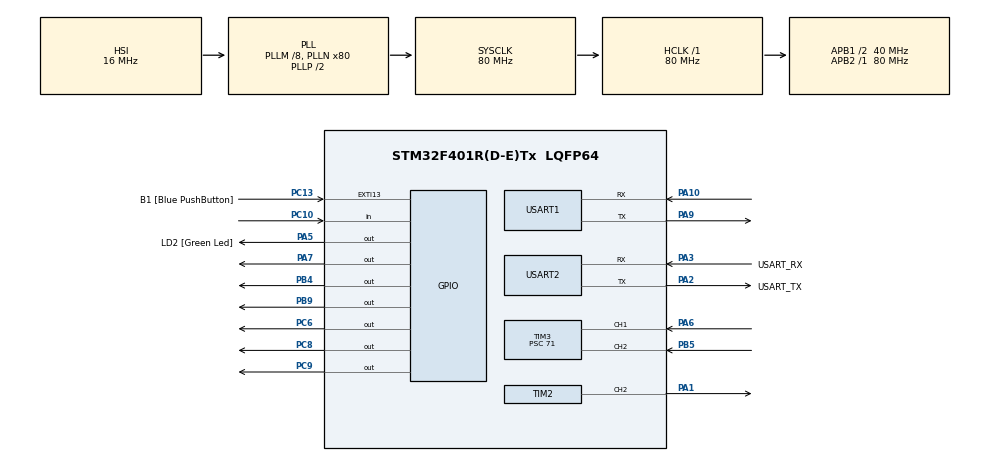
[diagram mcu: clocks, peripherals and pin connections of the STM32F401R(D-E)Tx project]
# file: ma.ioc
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Mcu.Family=STM32F4
Mcu.Name=STM32F401R(D-E)Tx
Mcu.Package=LQFP64
NVIC.PriorityGroup=NVIC_PRIORITYGROUP_0
NVIC.TIM3_IRQn=true\:0\:0\:false\:false\:true\:true\:true\:true
PA1.Signal=S_TIM2_CH2
PA10.Mode=Asynchronous
PA10.Signal=USART1_RX
PA13.GPIO_Label=TMS
PA13.Mode=Serial_Wire
PA13.Signal=SYS_JTMS-SWDIO
PA14.GPIO_Label=TCK
PA14.Mode=Serial_Wire
PA14.Signal=SYS_JTCK-SWCLK
PA2.GPIO_Label=USART_TX
PA2.GPIO_Mode=GPIO_MODE_AF_PP
PA2.GPIO_PuPd=GPIO_NOPULL
PA2.GPIO_Speed=GPIO_SPEED_FREQ_LOW
PA2.Mode=Asynchronous
PA2.Signal=USART2_TX
PA3.GPIO_Label=USART_RX
PA3.GPIO_Mode=GPIO_MODE_AF_PP
PA3.GPIO_PuPd=GPIO_NOPULL
PA3.GPIO_Speed=GPIO_SPEED_FREQ_LOW
PA3.Mode=Asynchronous
PA3.Signal=USART2_RX
PA5.GPIO_Label=LD2 [Green Led]
PA5.GPIO_Mode=GPIO_MODE_OUTPUT_PP
PA5.GPIO_PuPd=GPIO_NOPULL
PA5.GPIO_Speed=GPIO_SPEED_FREQ_LOW
PA5.Signal=GPIO_Output
PA6.Signal=S_TIM3_CH1
PA7.Signal=GPIO_Output
PA9.Mode=Asynchronous
PA9.Signal=USART1_TX
PB3.GPIO_Label=SWO
PB3.Signal=SYS_JTDO-SWO
PB4.Signal=GPIO_Output
PB5.Signal=S_TIM3_CH2
PB9.Signal=GPIO_Output
PC10.Signal=GPIO_Input
PC13-ANTI_TAMP.GPIO_Label=B1 [Blue PushButton]
PC13-ANTI_TAMP.GPIO_ModeDefaultEXTI=GPIO_MODE_IT_FALLING
PC13-ANTI_TAMP.GPIO_PuPd=GPIO_NOPULL
PC13-ANTI_TAMP.Signal=GPXTI13
PC14-OSC32_IN.Mode=LSE-External-Oscillator
PC14-OSC32_IN.Signal=RCC_OSC32_IN
PC15-OSC32_OUT.Mode=LSE-External-Oscillator
PC15-OSC32_OUT.Signal=RCC_OSC32_OUT
PC6.Signal=GPIO_Output
PC8.Signal=GPIO_Output
PC9.Signal=GPIO_Output
PH0\ -\ OSC_IN.Mode=HSE-External-Oscillator
PH0\ -\ OSC_IN.Signal=RCC_OSC_IN
PH1\ -\ OSC_OUT.Mode=HSE-External-Oscillator
PH1\ -\ OSC_OUT.Signal=RCC_OSC_OUT
ProjectManager.HeapSize=0x200
ProjectManager.StackSize=0x400
ProjectManager.TargetToolchain=STM32CubeIDE
RCC.48MHZClocksFreq_Value=22857142.85714286
RCC.AHBFreq_Value=80000000
RCC.APB1CLKDivider=RCC_HCLK_DIV2
RCC.APB1Freq_Value=40000000
RCC.APB1TimFreq_Value=80000000
RCC.APB2Freq_Value=80000000
RCC.APB2TimFreq_Value=80000000
RCC.CortexFreq_Value=80000000
RCC.HCLKFreq_Value=80000000
RCC.HSE_VALUE=8000000
RCC.HSI_VALUE=16000000
RCC.PLLM=8
RCC.PLLN=80
RCC.PLLQ=7
RCC.SYSCLKFreq_VALUE=80000000
RCC.SYSCLKSource=RCC_SYSCLKSOURCE_PLLCLK
RCC.VCOOutputFreq_Value=160000000
SH.S_TIM2_CH2.0=TIM2_CH2,PWM Generation2 CH2
SH.S_TIM3_CH1.0=TIM3_CH1,Input_Capture1_from_TI1
SH.S_TIM3_CH2.0=TIM3_CH2,Input_Capture2_from_TI2
TIM1.Prescaler=79
TIM2.Channel-PWM\ Generation2\ CH2=TIM_CHANNEL_2
TIM2.Period=9999
TIM2.Prescaler=159
TIM3.Channel-Input_Capture1_from_TI1=TIM_CHANNEL_1
TIM3.Channel-Input_Capture2_from_TI2=TIM_CHANNEL_2
TIM3.Period=0xffff - 1
TIM3.Prescaler=71
USART1.VirtualMode=VM_ASYNC
USART2.VirtualMode=VM_ASYNC
VP_TIM1_VS_ClockSourceINT.Mode=Internal
VP_TIM2_VS_ClockSourceINT.Mode=Internal
VP_TIM3_VS_ClockSourceINT.Mode=Internal
board=NUCLEO-F401RE

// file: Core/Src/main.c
/* USER CODE BEGIN Header */
/**
  ******************************************************************************
  * @file           : main.c
  * @brief          : Main program body
  ******************************************************************************
  * @attention
  *
  * Copyright (c) 2023 STMicroelectronics.
  * All rights reserved.
  *
  * This software is licensed under terms that can be found in the LICENSE file
  * in the root directory of this software component.
  * If no LICENSE file comes with this software, it is provided AS-IS.
  *
  ******************************************************************************
  */
/* USER CODE END Header */
#include "main.h"

TIM_HandleTypeDef htim1;
TIM_HandleTypeDef htim2;
TIM_HandleTypeDef htim3;

UART_HandleTypeDef huart1;
UART_HandleTypeDef huart2;

void SystemClock_Config(void);
static void MX_GPIO_Init(void);
static void MX_USART2_UART_Init(void);
static void MX_TIM1_Init(void);
static void MX_TIM2_Init(void);
static void MX_TIM3_Init(void);
static void MX_USART1_UART_Init(void);

/* USER CODE BEGIN 0 */
#define DHT11_PORT GPIOB
#define DHT11_PIN GPIO_PIN_9
uint8_t RHI, RHD, TCI, TCD, SUM;
uint32_t pMillis, cMillis;
float tCelsius = 0;
float tFahrenheit = 0;
float RH = 0;

void microDelay (uint16_t delay)
{
  __HAL_TIM_SET_COUNTER(&htim1, 0);
  while (__HAL_TIM_GET_COUNTER(&htim1) < delay);
}

uint8_t DHT11_Start (void)
{
  uint8_t Response = 0;
  GPIO_InitTypeDef GPIO_InitStructPrivate = {0};
  GPIO_InitStructPrivate.Pin = DHT11_PIN;
  GPIO_InitStructPrivate.Mode = GPIO_MODE_OUTPUT_PP;
  GPIO_InitStructPrivate.Speed = GPIO_SPEED_FREQ_LOW;
  GPIO_InitStructPrivate.Pull = GPIO_NOPULL;
  HAL_GPIO_Init(DHT11_PORT, &GPIO_InitStructPrivate); // set the pin as output
  HAL_GPIO_WritePin (DHT11_PORT, DHT11_PIN, 0);   // pull the pin low
  HAL_Delay(20);   // wait for 20ms
  HAL_GPIO_WritePin (DHT11_PORT, DHT11_PIN, 1);   // pull the pin high
  microDelay (30);   // wait for 30us
  GPIO_InitStructPrivate.Mode = GPIO_MODE_INPUT;
  GPIO_InitStructPrivate.Pull = GPIO_PULLUP;
  HAL_GPIO_Init(DHT11_PORT, &GPIO_InitStructPrivate); // set the pin as input
  microDelay (40);
  if (!(HAL_GPIO_ReadPin (DHT11_PORT, DHT11_PIN)))
  {
    microDelay (80);
    if ((HAL_GPIO_ReadPin (DHT11_PORT, DHT11_PIN))) Response = 1;
  }
  pMillis = HAL_GetTick();
  cMillis = HAL_GetTick();
  while ((HAL_GPIO_ReadPin (DHT11_PORT, DHT11_PIN)) && pMillis + 2 > cMillis)
  {
    cMillis = HAL_GetTick();
  }
  return Response;
}

uint8_t DHT11_Read (void)
{
  uint8_t a,b;
  for (a=0;a<8;a++)
  {
    pMillis = HAL_GetTick();
    cMillis = HAL_GetTick();
    while (!(HAL_GPIO_ReadPin (DHT11_PORT, DHT11_PIN)) && pMillis + 2 > cMillis)
    {  // wait for the pin to go high
      cMillis = HAL_GetTick();
    }
    microDelay (40);   // wait for 40 us
    if (!(HAL_GPIO_ReadPin (DHT11_PORT, DHT11_PIN)))   // if the pin is low
      b&= ~(1<<(7-a));
    else
      b|= (1<<(7-a));
    pMillis = HAL_GetTick();
    cMillis = HAL_GetTick();
    while ((HAL_GPIO_ReadPin (DHT11_PORT, DHT11_PIN)) && pMillis + 2 > cMillis)
    {  // wait for the pin to go low
      cMillis = HAL_GetTick();
    }
  }
  return b;
}

uint32_t IC_Val11 = 0;
uint32_t IC_Val12 = 0;
uint32_t IC_Val21 = 0;
uint32_t IC_Val22 = 0;
uint32_t Difference1 = 0;
uint32_t Difference2 = 0;
uint8_t Is_first_Captured1 = 0;  // is the first value captured ?
uint8_t Is_first_Captured2 = 0;
uint8_t Distance1  = 0;
uint8_t Distance2  = 0;

#define TRIG_PIN GPIO_PIN_9
#define TRIG_PORT GPIOA

// Let's write the callback function

void HAL_TIM_IC_CaptureCallback(TIM_HandleTypeDef *htim)
{
	if (htim->Channel == HAL_TIM_ACTIVE_CHANNEL_1)  // if the interrupt source is channel1
	{
		if (Is_first_Captured1==0) // if the first value is not captured
		{
			IC_Val11 = HAL_TIM_ReadCapturedValue(htim, TIM_CHANNEL_1); // read the first value
			Is_first_Captured1 = 1;  // set the first captured as true
			// Now change the polarity to falling edge
			__HAL_TIM_SET_CAPTUREPOLARITY(htim, TIM_CHANNEL_1, TIM_INPUTCHANNELPOLARITY_FALLING);
		}

		else if (Is_first_Captured1==1)   // if the first is already captured
		{
			IC_Val12 = HAL_TIM_ReadCapturedValue(htim, TIM_CHANNEL_1);  // read second value
			__HAL_TIM_SET_COUNTER(htim, 0);  // reset the counter

			if (IC_Val12 > IC_Val11)
			{
				Difference1 = IC_Val12-IC_Val11;
			}

			else if (IC_Val11 > IC_Val12)
			{
				Difference1 = (0xffff - IC_Val11) + IC_Val12;
			}

			Distance1 = Difference1 * .034/2;
			Is_first_Captured1 = 0; // set it back to false
			Difference1 = 0;
//			HAL_UART_Transmit(&huart2, Distance1, sizeof (Distance1), 10);
//		    tm1637DisplayDecimal(Distance1, 0);
			// set polarity to rising edge
			__HAL_TIM_SET_CAPTUREPOLARITY(htim, TIM_CHANNEL_1, TIM_INPUTCHANNELPOLARITY_RISING);
			__HAL_TIM_DISABLE_IT(&htim3, TIM_IT_CC1);
		}
	}

	if (htim->Channel == HAL_TIM_ACTIVE_CHANNEL_2)  // if the interrupt source is channel1
	{
		if (Is_first_Captured2==0) // if the first value is not captured
		{
			IC_Val21 = HAL_TIM_ReadCapturedValue(htim, TIM_CHANNEL_2); // read the first value
			Is_first_Captured2 = 1;  // set the first captured as true
			// Now change the polarity to falling edge
			__HAL_TIM_SET_CAPTUREPOLARITY(htim, TIM_CHANNEL_2, TIM_INPUTCHANNELPOLARITY_FALLING);
		}

		else if (Is_first_Captured2==1)   // if the first is already captured
		{
			IC_Val22 = HAL_TIM_ReadCapturedValue(htim, TIM_CHANNEL_2);  // read second value
			__HAL_TIM_SET_COUNTER(htim, 0);  // reset the counter

			if (IC_Val22 > IC_Val21)
			{
				Difference2 = IC_Val22-IC_Val21;
			}

			else if (IC_Val21 > IC_Val22)
			{
				Difference2 = (0xffff - IC_Val21) + IC_Val22;
			}

			Distance2 = Difference2 * .034/2;
			Is_first_Captured2 = 0; // set it back to false

			Difference2 = 0;

//			HAL_UART_Transmit(&huart2, Distance2, sizeof (Distance2), 10);
//			tm1637DisplayDecimal(Distance2, 0);
			// set polarity to rising edge
			__HAL_TIM_SET_CAPTUREPOLARITY(htim, TIM_CHANNEL_2, TIM_INPUTCHANNELPOLARITY_RISING);
			__HAL_TIM_DISABLE_IT(&htim3, TIM_IT_CC2);
		}
	}
}

void HCSR04_Read (void)
{
	HAL_GPIO_WritePin(GPIOA, GPIO_PIN_7, GPIO_PIN_SET);  // pull the TRIG pin HIGH
	HAL_Delay(15);  // wait for 10 us
	HAL_GPIO_WritePin(GPIOA, GPIO_PIN_7, GPIO_PIN_RESET);

	__HAL_TIM_ENABLE_IT(&htim3, TIM_IT_CC1);

	HAL_GPIO_WritePin(GPIOB, GPIO_PIN_4, GPIO_PIN_SET);  // pull the TRIG pin HIGH
	HAL_Delay(15);  // wait for 10 us
	HAL_GPIO_WritePin(GPIOB, GPIO_PIN_4, GPIO_PIN_RESET);

	__HAL_TIM_ENABLE_IT(&htim3, TIM_IT_CC2);
}
/* USER CODE END 0 */

int main(void)
{

  /* MCU Configuration--------------------------------------------------------*/

  /* Reset of all peripherals, Initializes the Flash interface and the Systick. */
  HAL_Init();

  /* Configure the system clock */
  SystemClock_Config();

  /* Initialize all configured peripherals */
  MX_GPIO_Init();
  MX_USART2_UART_Init();
  MX_TIM1_Init();
  MX_TIM2_Init();
  MX_TIM3_Init();
  MX_USART1_UART_Init();
  /* USER CODE BEGIN 2 */
  char buff[32];
  //DHT11
  HAL_TIM_Base_Start(&htim1);

  //Ultrasonic
  HAL_TIM_IC_Start_IT(&htim3, TIM_CHANNEL_1);
  HAL_TIM_IC_Start_IT(&htim3, TIM_CHANNEL_2);

  //Servo
  HAL_TIM_PWM_Start(&htim2, TIM_CHANNEL_2);
  for (int i=25;i<=75;i++) {
	  __HAL_TIM_SET_COMPARE(&htim2,TIM_CHANNEL_2, i*10);
	  HAL_Delay(10);
  }

  //Power Outlet
  HAL_GPIO_WritePin(GPIOC, GPIO_PIN_9, 1);
  HAL_GPIO_WritePin(GPIOC, GPIO_PIN_8, 1);
  HAL_GPIO_WritePin(GPIOC, GPIO_PIN_6, 1);
  /* USER CODE END 2 */

  /* Infinite loop */
  /* USER CODE BEGIN WHILE */
  while (1)
  {
	  //DHT11
	  if(DHT11_Start())
	  {
		RHI = DHT11_Read(); // Relative humidity integral
		RHD = DHT11_Read(); // Relative humidity decimal
		TCI = DHT11_Read(); // Celsius integral
		TCD = DHT11_Read(); // Celsius decimal
		SUM = DHT11_Read(); // Check sum
		if (RHI + RHD + TCI + TCD == SUM)
		{
		  // Can use RHI and TCI for any purposes if whole number only needed
		  tCelsius = (float)TCI + (float)(TCD/10.0);
		  tFahrenheit = tCelsius * 9/5 + 32;
		  RH = (float)RHI + (float)(RHD/10.0);
		  // Can use tCelsius, tFahrenheit and RH for any purposes
		}
	  }

	  //Distance
	  HCSR04_Read();

	  //Debug log
	  HAL_UART_Transmit(&huart2, buff, sprintf(buff, "Humid = %d\n\r", RHI), 1000);
	  HAL_UART_Transmit(&huart2, buff, sprintf(buff, "Distance 1 = %d\n\r", Distance1), 1000);
	  HAL_UART_Transmit(&huart2, buff, sprintf(buff, "Distance 2 = %d\n\r", Distance2), 1000);

	  //Sending data to nodemcu
	  //HAL_UART_Transmit(&huart1, buff, sprintf(buff, "0:%c1:%c", Distance1, Distance2), 1000);

	  //Servo
	  __HAL_TIM_SET_COMPARE(&htim2,TIM_CHANNEL_2, 750);

	  if (HAL_GPIO_ReadPin(GPIOC, GPIO_PIN_10) == 0) {
		  int lastHumid = RHI;

		  for (int i = 1; i <= 20; i++) {
			  if(DHT11_Start())
			  {
				RHI = DHT11_Read(); // Relative humidity integral
				RHD = DHT11_Read(); // Relative humidity decimal
				TCI = DHT11_Read(); // Celsius integral
				TCD = DHT11_Read(); // Celsius decimal
				SUM = DHT11_Read(); // Check sum
				if (RHI + RHD + TCI + TCD == SUM)
				{
				  // Can use RHI and TCI for any purposes if whole number only needed
				  tCelsius = (float)TCI + (float)(TCD/10.0);
				  tFahrenheit = tCelsius * 9/5 + 32;
				  RH = (float)RHI + (float)(RHD/10.0);
				  // Can use tCelsius, tFahrenheit and RH for any purposes
				}
			  }
			  HAL_Delay(200);
		  }

		  uint8_t rotation;

		  if (RHI - lastHumid <= 1) {
			  rotation = 'D';
			  for (int i = 75; i>=25; i--) {
				  __HAL_TIM_SET_COMPARE(&htim2,TIM_CHANNEL_2, i*10);
				  HAL_Delay(10);
			  }
			  HAL_Delay(1000);
			  for (int i=25;i<=75;i++) {
				  __HAL_TIM_SET_COMPARE(&htim2,TIM_CHANNEL_2, i*10);
				  HAL_Delay(10);
			  }
		  } else {
			  rotation = 'W';
			  for (int i=75;i<=125;i++) {
				  __HAL_TIM_SET_COMPARE(&htim2,TIM_CHANNEL_2, i*10);
				  HAL_Delay(10);
			  }
			  HAL_Delay(1000);
			  for (int i=125;i>=75;i--) {
				  __HAL_TIM_SET_COMPARE(&htim2,TIM_CHANNEL_2, i*10);
				  HAL_Delay(10);
			  }
		  }

		  //wait for trash to settle down
		  HAL_Delay(2000);

		  //read distance between trash and sensor on the upper part of the box
		  HCSR04_Read();

		  //send data to nodeMCU
		  HAL_UART_Transmit(&huart1, buff, sprintf(buff, "2:%c", rotation), 1000);
		  HAL_UART_Transmit(&huart1, buff, sprintf(buff, "0:%c1:%c", Distance1, Distance2), 1000);
	  }

	  HAL_Delay(300);

    /* USER CODE END WHILE */

  }
}

void SystemClock_Config(void)
{
  RCC_OscInitTypeDef RCC_OscInitStruct = {0};
  RCC_ClkInitTypeDef RCC_ClkInitStruct = {0};

  /** Configure the main internal regulator output voltage
  */
  __HAL_RCC_PWR_CLK_ENABLE();
  __HAL_PWR_VOLTAGESCALING_CONFIG(PWR_REGULATOR_VOLTAGE_SCALE2);

  /** Initializes the RCC Oscillators according to the specified parameters
  * in the RCC_OscInitTypeDef structure.
  */
  RCC_OscInitStruct.OscillatorType = RCC_OSCILLATORTYPE_HSI;
  RCC_OscInitStruct.HSIState = RCC_HSI_ON;
  RCC_OscInitStruct.HSICalibrationValue = RCC_HSICALIBRATION_DEFAULT;
  RCC_OscInitStruct.PLL.PLLState = RCC_PLL_ON;
  RCC_OscInitStruct.PLL.PLLSource = RCC_PLLSOURCE_HSI;
  RCC_OscInitStruct.PLL.PLLM = 8;
  RCC_OscInitStruct.PLL.PLLN = 80;
  RCC_OscInitStruct.PLL.PLLP = RCC_PLLP_DIV2;
  RCC_OscInitStruct.PLL.PLLQ = 7;
  if (HAL_RCC_OscConfig(&RCC_OscInitStruct) != HAL_OK)
  {
    Error_Handler();
  }

  /** Initializes the CPU, AHB and APB buses clocks
  */
  RCC_ClkInitStruct.ClockType = RCC_CLOCKTYPE_HCLK|RCC_CLOCKTYPE_SYSCLK
                              |RCC_CLOCKTYPE_PCLK1|RCC_CLOCKTYPE_PCLK2;
  RCC_ClkInitStruct.SYSCLKSource = RCC_SYSCLKSOURCE_PLLCLK;
  RCC_ClkInitStruct.AHBCLKDivider = RCC_SYSCLK_DIV1;
  RCC_ClkInitStruct.APB1CLKDivider = RCC_HCLK_DIV2;
  RCC_ClkInitStruct.APB2CLKDivider = RCC_HCLK_DIV1;

  if (HAL_RCC_ClockConfig(&RCC_ClkInitStruct, FLASH_LATENCY_2) != HAL_OK)
  {
    Error_Handler();
  }
}

static void MX_TIM1_Init(void)
{

  TIM_ClockConfigTypeDef sClockSourceConfig = {0};
  TIM_MasterConfigTypeDef sMasterConfig = {0};

  htim1.Instance = TIM1;
  htim1.Init.Prescaler = 79;
  htim1.Init.CounterMode = TIM_COUNTERMODE_UP;
  htim1.Init.Period = 65535;
  htim1.Init.ClockDivision = TIM_CLOCKDIVISION_DIV1;
  htim1.Init.RepetitionCounter = 0;
  htim1.Init.AutoReloadPreload = TIM_AUTORELOAD_PRELOAD_DISABLE;
  if (HAL_TIM_Base_Init(&htim1) != HAL_OK)
  {
    Error_Handler();
  }
  sClockSourceConfig.ClockSource = TIM_CLOCKSOURCE_INTERNAL;
  if (HAL_TIM_ConfigClockSource(&htim1, &sClockSourceConfig) != HAL_OK)
  {
    Error_Handler();
  }
  sMasterConfig.MasterOutputTrigger = TIM_TRGO_RESET;
  sMasterConfig.MasterSlaveMode = TIM_MASTERSLAVEMODE_DISABLE;
  if (HAL_TIMEx_MasterConfigSynchronization(&htim1, &sMasterConfig) != HAL_OK)
  {
    Error_Handler();
  }

}

static void MX_TIM2_Init(void)
{

  TIM_ClockConfigTypeDef sClockSourceConfig = {0};
  TIM_MasterConfigTypeDef sMasterConfig = {0};
  TIM_OC_InitTypeDef sConfigOC = {0};

  htim2.Instance = TIM2;
  htim2.Init.Prescaler = 159;
  htim2.Init.CounterMode = TIM_COUNTERMODE_UP;
  htim2.Init.Period = 9999;
  htim2.Init.ClockDivision = TIM_CLOCKDIVISION_DIV1;
  htim2.Init.AutoReloadPreload = TIM_AUTORELOAD_PRELOAD_DISABLE;
  if (HAL_TIM_Base_Init(&htim2) != HAL_OK)
  {
    Error_Handler();
  }
  sClockSourceConfig.ClockSource = TIM_CLOCKSOURCE_INTERNAL;
  if (HAL_TIM_ConfigClockSource(&htim2, &sClockSourceConfig) != HAL_OK)
  {
    Error_Handler();
  }
  if (HAL_TIM_PWM_Init(&htim2) != HAL_OK)
  {
    Error_Handler();
  }
  sMasterConfig.MasterOutputTrigger = TIM_TRGO_RESET;
  sMasterConfig.MasterSlaveMode = TIM_MASTERSLAVEMODE_DISABLE;
  if (HAL_TIMEx_MasterConfigSynchronization(&htim2, &sMasterConfig) != HAL_OK)
  {
    Error_Handler();
  }
  sConfigOC.OCMode = TIM_OCMODE_PWM1;
  sConfigOC.Pulse = 0;
  sConfigOC.OCPolarity = TIM_OCPOLARITY_HIGH;
  sConfigOC.OCFastMode = TIM_OCFAST_DISABLE;
  if (HAL_TIM_PWM_ConfigChannel(&htim2, &sConfigOC, TIM_CHANNEL_2) != HAL_OK)
  {
    Error_Handler();
  }
  HAL_TIM_MspPostInit(&htim2);

}

static void MX_TIM3_Init(void)
{

  TIM_ClockConfigTypeDef sClockSourceConfig = {0};
  TIM_MasterConfigTypeDef sMasterConfig = {0};
  TIM_IC_InitTypeDef sConfigIC = {0};

  htim3.Instance = TIM3;
  htim3.Init.Prescaler = 71;
  htim3.Init.CounterMode = TIM_COUNTERMODE_UP;
  htim3.Init.Period = 0xffff - 1;
  htim3.Init.ClockDivision = TIM_CLOCKDIVISION_DIV1;
  htim3.Init.AutoReloadPreload = TIM_AUTORELOAD_PRELOAD_DISABLE;
  if (HAL_TIM_Base_Init(&htim3) != HAL_OK)
  {
    Error_Handler();
  }
  sClockSourceConfig.ClockSource = TIM_CLOCKSOURCE_INTERNAL;
  if (HAL_TIM_ConfigClockSource(&htim3, &sClockSourceConfig) != HAL_OK)
  {
    Error_Handler();
  }
  if (HAL_TIM_IC_Init(&htim3) != HAL_OK)
  {
    Error_Handler();
  }
  sMasterConfig.MasterOutputTrigger = TIM_TRGO_RESET;
  sMasterConfig.MasterSlaveMode = TIM_MASTERSLAVEMODE_DISABLE;
  if (HAL_TIMEx_MasterConfigSynchronization(&htim3, &sMasterConfig) != HAL_OK)
  {
    Error_Handler();
  }
  sConfigIC.ICPolarity = TIM_INPUTCHANNELPOLARITY_RISING;
  sConfigIC.ICSelection = TIM_ICSELECTION_DIRECTTI;
  sConfigIC.ICPrescaler = TIM_ICPSC_DIV1;
  sConfigIC.ICFilter = 0;
  if (HAL_TIM_IC_ConfigChannel(&htim3, &sConfigIC, TIM_CHANNEL_1) != HAL_OK)
  {
    Error_Handler();
  }
  if (HAL_TIM_IC_ConfigChannel(&htim3, &sConfigIC, TIM_CHANNEL_2) != HAL_OK)
  {
    Error_Handler();
  }

}

static void MX_USART1_UART_Init(void)
{

  huart1.Instance = USART1;
  huart1.Init.BaudRate = 115200;
  huart1.Init.WordLength = UART_WORDLENGTH_8B;
  huart1.Init.StopBits = UART_STOPBITS_1;
  huart1.Init.Parity = UART_PARITY_NONE;
  huart1.Init.Mode = UART_MODE_TX_RX;
  huart1.Init.HwFlowCtl = UART_HWCONTROL_NONE;
  huart1.Init.OverSampling = UART_OVERSAMPLING_16;
  if (HAL_UART_Init(&huart1) != HAL_OK)
  {
    Error_Handler();
  }

}

static void MX_USART2_UART_Init(void)
{

  huart2.Instance = USART2;
  huart2.Init.BaudRate = 115200;
  huart2.Init.WordLength = UART_WORDLENGTH_8B;
  huart2.Init.StopBits = UART_STOPBITS_1;
  huart2.Init.Parity = UART_PARITY_NONE;
  huart2.Init.Mode = UART_MODE_TX_RX;
  huart2.Init.HwFlowCtl = UART_HWCONTROL_NONE;
  huart2.Init.OverSampling = UART_OVERSAMPLING_16;
  if (HAL_UART_Init(&huart2) != HAL_OK)
  {
    Error_Handler();
  }

}

static void MX_GPIO_Init(void)
{
  GPIO_InitTypeDef GPIO_InitStruct = {0};

  /* GPIO Ports Clock Enable */
  __HAL_RCC_GPIOC_CLK_ENABLE();
  __HAL_RCC_GPIOH_CLK_ENABLE();
  __HAL_RCC_GPIOA_CLK_ENABLE();
  __HAL_RCC_GPIOB_CLK_ENABLE();

  /*Configure GPIO pin Output Level */
  HAL_GPIO_WritePin(GPIOA, LD2_Pin|GPIO_PIN_7, GPIO_PIN_RESET);

  /*Configure GPIO pin Output Level */
  HAL_GPIO_WritePin(GPIOC, GPIO_PIN_6|GPIO_PIN_8|GPIO_PIN_9, GPIO_PIN_RESET);

  /*Configure GPIO pin Output Level */
  HAL_GPIO_WritePin(GPIOB, GPIO_PIN_4|GPIO_PIN_9, GPIO_PIN_RESET);

  /*Configure GPIO pin : B1_Pin */
  GPIO_InitStruct.Pin = B1_Pin;
  GPIO_InitStruct.Mode = GPIO_MODE_IT_FALLING;
  GPIO_InitStruct.Pull = GPIO_NOPULL;
  HAL_GPIO_Init(B1_GPIO_Port, &GPIO_InitStruct);

  /*Configure GPIO pins : LD2_Pin PA7 */
  GPIO_InitStruct.Pin = LD2_Pin|GPIO_PIN_7;
  GPIO_InitStruct.Mode = GPIO_MODE_OUTPUT_PP;
  GPIO_InitStruct.Pull = GPIO_NOPULL;
  GPIO_InitStruct.Speed = GPIO_SPEED_FREQ_LOW;
  HAL_GPIO_Init(GPIOA, &GPIO_InitStruct);

  /*Configure GPIO pins : PC6 PC8 PC9 */
  GPIO_InitStruct.Pin = GPIO_PIN_6|GPIO_PIN_8|GPIO_PIN_9;
  GPIO_InitStruct.Mode = GPIO_MODE_OUTPUT_PP;
  GPIO_InitStruct.Pull = GPIO_NOPULL;
  GPIO_InitStruct.Speed = GPIO_SPEED_FREQ_LOW;
  HAL_GPIO_Init(GPIOC, &GPIO_InitStruct);

  /*Configure GPIO pin : PC10 */
  GPIO_InitStruct.Pin = GPIO_PIN_10;
  GPIO_InitStruct.Mode = GPIO_MODE_INPUT;
  GPIO_InitStruct.Pull = GPIO_NOPULL;
  HAL_GPIO_Init(GPIOC, &GPIO_InitStruct);

  /*Configure GPIO pins : PB4 PB9 */
  GPIO_InitStruct.Pin = GPIO_PIN_4|GPIO_PIN_9;
  GPIO_InitStruct.Mode = GPIO_MODE_OUTPUT_PP;
  GPIO_InitStruct.Pull = GPIO_NOPULL;
  GPIO_InitStruct.Speed = GPIO_SPEED_FREQ_LOW;
  HAL_GPIO_Init(GPIOB, &GPIO_InitStruct);

}

void Error_Handler(void)
{
  __disable_irq();
  while (1)
  {
  }
}
